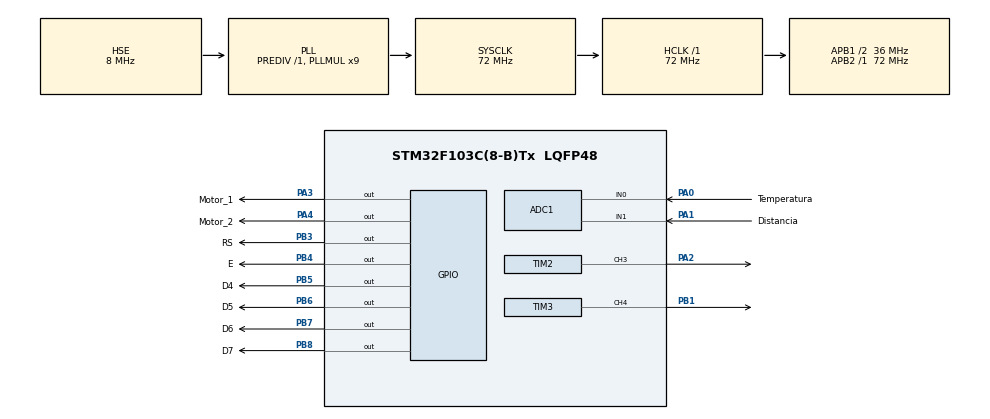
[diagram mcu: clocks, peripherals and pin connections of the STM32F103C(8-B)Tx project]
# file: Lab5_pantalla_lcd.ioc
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ADC1.Channel-0\#ChannelRegularConversion=ADC_CHANNEL_0
ADC1.ContinuousConvMode=ENABLE
ADC1.NbrOfConversionFlag=1
ADC1.Rank-0\#ChannelRegularConversion=1
ADC1.SamplingTime-0\#ChannelRegularConversion=ADC_SAMPLETIME_1CYCLE_5
ADC1.master=1
Mcu.Family=STM32F1
Mcu.Name=STM32F103C(8-B)Tx
Mcu.Package=LQFP48
NVIC.PriorityGroup=NVIC_PRIORITYGROUP_4
PA0-WKUP.GPIO_Label=Temperatura
PA0-WKUP.Signal=ADCx_IN0
PA1.GPIO_Label=Distancia
PA1.Signal=ADCx_IN1
PA2.Signal=S_TIM2_CH3
PA3.GPIO_Label=Motor_1
PA3.Signal=GPIO_Output
PA4.GPIO_Label=Motor_2
PA4.Signal=GPIO_Output
PB1.Signal=S_TIM3_CH4
PB3.GPIO_Label=RS
PB3.Signal=GPIO_Output
PB4.GPIO_Label=E
PB4.Signal=GPIO_Output
PB5.GPIO_Label=D4
PB5.Signal=GPIO_Output
PB6.GPIO_Label=D5
PB6.Signal=GPIO_Output
PB7.GPIO_Label=D6
PB7.Signal=GPIO_Output
PB8.GPIO_Label=D7
PB8.Signal=GPIO_Output
PD0-OSC_IN.Mode=HSE-External-Oscillator
PD0-OSC_IN.Signal=RCC_OSC_IN
PD1-OSC_OUT.Mode=HSE-External-Oscillator
PD1-OSC_OUT.Signal=RCC_OSC_OUT
ProjectManager.HeapSize=0x200
ProjectManager.StackSize=0x400
ProjectManager.TargetToolchain=STM32CubeIDE
RCC.ADCPresc=RCC_ADCPCLK2_DIV6
RCC.AHBFreq_Value=72000000
RCC.APB1CLKDivider=RCC_HCLK_DIV2
RCC.APB1Freq_Value=36000000
RCC.APB1TimFreq_Value=72000000
RCC.APB2Freq_Value=72000000
RCC.APB2TimFreq_Value=72000000
RCC.HCLKFreq_Value=72000000
RCC.PLLMUL=RCC_PLL_MUL9
RCC.PLLSourceVirtual=RCC_PLLSOURCE_HSE
RCC.SYSCLKFreq_VALUE=72000000
RCC.SYSCLKSource=RCC_SYSCLKSOURCE_PLLCLK
RCC.USBFreq_Value=72000000
SH.ADCx_IN0.0=ADC1_IN0,IN0
SH.ADCx_IN1.0=ADC1_IN1,IN1
SH.S_TIM2_CH3.0=TIM2_CH3,PWM Generation3 CH3
SH.S_TIM3_CH4.0=TIM3_CH4,PWM Generation4 CH4
TIM2.Channel-PWM\ Generation3\ CH3=TIM_CHANNEL_3
TIM2.Period=99
TIM2.Prescaler=71
TIM3.Channel-PWM\ Generation4\ CH4=TIM_CHANNEL_4
TIM3.Period=99
TIM3.Prescaler=71
VP_SYS_VS_ND.Mode=No_Debug
board=custom

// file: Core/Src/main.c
/* USER CODE BEGIN Header */
/**
  ******************************************************************************
  * @file           : main.c
  * @brief          : Main program body
  ******************************************************************************
  * @attention
  *
  * Copyright (c) 2026 STMicroelectronics.
  * All rights reserved.
  *
  * This software is licensed under terms that can be found in the LICENSE file
  * in the root directory of this software component.
  * If no LICENSE file comes with this software, it is provided AS-IS.
  *
  ******************************************************************************
  */
/* USER CODE END Header */
#include "main.h"
#include "adc.h"
#include "tim.h"
#include "gpio.h"

/* USER CODE BEGIN Includes */
#include "lcd.h"
#include <stdio.h>
#include <math.h>
/* USER CODE END Includes */

/* USER CODE BEGIN PD */
#define Mo1_puenH_avan 1
#define Mo2_puenH_avan 1
#define MOVE_TIMEOUT_MS 8000U
#define Distancia 10.0f

#define M1_TRIM 1.0f
#define M2_TRIM 1.0f

#define Volt_ref 1200.0f
#define Histeresis 5.0f
#define ADC_muestras 8U

#define ADC_max_filtro 32U
#define Muestras_dist 15U
#define Espera_dist_ms 2U        /* el Sharp actualiza cada ~38 ms           */
#define Filtro_dist 0.5f         /* 0.1 = muy suave/lento, 1.0 = sin filtro  */

#define Duty_arranque 100.0f     /* % durante el impulso inicial             */
#define Tiempo_arranque_ms 150U
/* USER CODE END PD */

/* USER CODE BEGIN PV */
char buf_lcd[24];
uint8_t duty = 80;
uint8_t ciclo_trab = 0;
uint16_t datos_temp = 0;
uint8_t datos_distan = 0;
uint16_t datos_alimentacion = 3300;
uint8_t motores_on = 1;
float dist_filtrada = 80.0f;
/* USER CODE END PV */

void SystemClock_Config(void);

/* USER CODE BEGIN 0 */
static uint16_t Lectura_ADC(uint32_t canal_leer)
{
	ADC_ChannelConfTypeDef config = {0};
	uint32_t suma = 0;

	config.Channel = canal_leer;
	config.Rank = ADC_REGULAR_RANK_1;
	config.SamplingTime = ADC_SAMPLETIME_239CYCLES_5;
	HAL_ADC_ConfigChannel(&hadc1, &config);

	for (uint32_t i = 0; i < ADC_muestras; i++)
	  {
	    HAL_ADC_Start(&hadc1);
	    HAL_ADC_PollForConversion(&hadc1, 10);
	    suma += HAL_ADC_GetValue(&hadc1);
	    HAL_ADC_Stop(&hadc1);
	  }
	  return (uint16_t)(suma / ADC_muestras);
}

static uint16_t Lectura_ADC_filtrada(uint32_t canal_leer, uint8_t muestras, uint32_t espera_ms)
{
	uint16_t m[ADC_max_filtro];
	uint8_t n = muestras;
	uint32_t suma = 0;

	if (n > ADC_max_filtro) n = ADC_max_filtro;
	if (n < 4) n = 4;

	for (uint8_t i = 0; i < n; i++)
	{
		m[i] = Lectura_ADC(canal_leer);
		HAL_Delay(espera_ms);
	}

	/* ordenar de menor a mayor (insercion) */
	for (uint8_t i = 1; i < n; i++)
	{
		uint16_t clave = m[i];
		int j = (int)i - 1;
		while (j >= 0 && m[j] > clave)
		{
			m[j + 1] = m[j];
			j--;
		}
		m[j + 1] = clave;
	}

	/* promedio de la mitad central */
	uint8_t ini = n / 4U;
	uint8_t fin = n - ini;
	for (uint8_t i = ini; i < fin; i++)
	{
		suma += m[i];
	}
	return (uint16_t)(suma / (uint32_t)(fin - ini));
}

static void Motores_avanzar(void)
{
  HAL_GPIO_WritePin(Motor_1_GPIO_Port, Motor_1_Pin, Mo1_puenH_avan);
  HAL_GPIO_WritePin(Motor_2_GPIO_Port, Motor_2_Pin, Mo2_puenH_avan);
    HAL_Delay(Tiempo_arranque_ms);
  __HAL_TIM_SetCompare(&htim2, TIM_CHANNEL_3, duty*M1_TRIM);
  __HAL_TIM_SetCompare(&htim3, TIM_CHANNEL_4, duty*M2_TRIM);
}

static void Motores_Detener(void)
{
  __HAL_TIM_SetCompare(&htim2, TIM_CHANNEL_3, 0);
  __HAL_TIM_SetCompare(&htim3, TIM_CHANNEL_4, 0);
}

/* USER CODE END 0 */

int main(void)
{

  /* USER CODE BEGIN 1 */
	CoreDebug->DEMCR |= CoreDebug_DEMCR_TRCENA_Msk;
	DWT->CYCCNT = 0;
	DWT->CTRL |= DWT_CTRL_CYCCNTENA_Msk;
  /* USER CODE END 1 */

  /* MCU Configuration--------------------------------------------------------*/

  /* Reset of all peripherals, Initializes the Flash interface and the Systick. */
  HAL_Init();

  /* Configure the system clock */
  SystemClock_Config();

  /* Initialize all configured peripherals */
  MX_GPIO_Init();
  MX_ADC1_Init();
  MX_TIM2_Init();
  MX_TIM3_Init();
  /* USER CODE BEGIN 2 */
  HAL_ADCEx_Calibration_Start(&hadc1);
  HAL_TIM_PWM_Start(&htim2, TIM_CHANNEL_3);
  HAL_TIM_PWM_Start(&htim3, TIM_CHANNEL_4);
  Motores_avanzar();
  Lcd_Init();

 /* Lcd_Set_Cursor(1,1);
  sprintf(buf_lcd, "PWM: %u ",duty);
  Lcd_Send_String(buf_lcd);
  HAL_Delay(50)*/

  /* USER CODE END 2 */

  /* Infinite loop */
  while (1)
  {

    /* USER CODE BEGIN 3 */
	  /*Alimentación*/
	  uint16_t alimen_ref = Lectura_ADC(ADC_CHANNEL_VREFINT);
	  if (alimen_ref >0)
	  {
		  datos_alimentacion = (uint16_t)(Volt_ref*4095.0f/(float)alimen_ref);
	  }
	  /*Temperatura*/
	  uint16_t temp_ref = Lectura_ADC(ADC_CHANNEL_0);
	  float mv_temp = ((float)temp_ref * (float)datos_alimentacion) / 4095.0f;
	  datos_temp = (uint16_t)mv_temp;       /* mV = decimas de grado C */

	  /*Distancia*/
	  uint16_t distan_ref = Lectura_ADC_filtrada(ADC_CHANNEL_1,Muestras_dist,Espera_dist_ms);
	 	  float volt_dist = ((float)distan_ref * (float)datos_alimentacion) / 4095.0f / 1000.0f;
	 	  float dist_cm = 80.0f;
	 	  if (volt_dist > 0.4f)
	 	  {
	 		  dist_cm = 27.16f * powf(volt_dist, -1.15f);
	 	  }
	 	  if (dist_cm > 80.0f)
	 		  {
	 		  dist_cm = 80.0f;
	 		  }
	 	  if (dist_cm < 10.0f)
	 	  {
	 		  dist_cm = 10.0f;
	 	  }

	 	 dist_filtrada = (Filtro_dist * dist_cm) + ((1.0f - Filtro_dist) * dist_filtrada);
	 		  datos_distan = (uint8_t)dist_filtrada;

	 	 	  if (motores_on && (dist_filtrada <= Distancia))
	 	 	  {
	 	 		  Motores_Detener();
	 	 		  motores_on = 0;
	 	 	  }
	 	 	  else if (!motores_on && (dist_filtrada >= (Distancia + Histeresis)))
	 	 	  {
	 	 		  Motores_avanzar();
	 	 		  motores_on = 1;
	 	 	  }
		  Lcd_Set_Cursor(1,1);
		  sprintf(buf_lcd, "Temp %u.%u ", datos_temp/ 10U,datos_temp % 10U);
		  Lcd_Send_String(buf_lcd);
		  Lcd_Set_Cursor(2,1);
		  sprintf(buf_lcd, "V:%u.%uV D:%ucm  ", datos_alimentacion / 1000U, (datos_alimentacion % 1000U) / 10U, datos_distan);
		  Lcd_Send_String(buf_lcd);

		  HAL_Delay(50);
  }
  /* USER CODE END 3 */
}

void SystemClock_Config(void)
{
  RCC_OscInitTypeDef RCC_OscInitStruct = {0};
  RCC_ClkInitTypeDef RCC_ClkInitStruct = {0};
  RCC_PeriphCLKInitTypeDef PeriphClkInit = {0};

  /** Initializes the RCC Oscillators according to the specified parameters
  * in the RCC_OscInitTypeDef structure.
  */
  RCC_OscInitStruct.OscillatorType = RCC_OSCILLATORTYPE_HSE;
  RCC_OscInitStruct.HSEState = RCC_HSE_ON;
  RCC_OscInitStruct.HSEPredivValue = RCC_HSE_PREDIV_DIV1;
  RCC_OscInitStruct.HSIState = RCC_HSI_ON;
  RCC_OscInitStruct.PLL.PLLState = RCC_PLL_ON;
  RCC_OscInitStruct.PLL.PLLSource = RCC_PLLSOURCE_HSE;
  RCC_OscInitStruct.PLL.PLLMUL = RCC_PLL_MUL9;
  if (HAL_RCC_OscConfig(&RCC_OscInitStruct) != HAL_OK)
  {
    Error_Handler();
  }

  /** Initializes the CPU, AHB and APB buses clocks
  */
  RCC_ClkInitStruct.ClockType = RCC_CLOCKTYPE_HCLK|RCC_CLOCKTYPE_SYSCLK
                              |RCC_CLOCKTYPE_PCLK1|RCC_CLOCKTYPE_PCLK2;
  RCC_ClkInitStruct.SYSCLKSource = RCC_SYSCLKSOURCE_PLLCLK;
  RCC_ClkInitStruct.AHBCLKDivider = RCC_SYSCLK_DIV1;
  RCC_ClkInitStruct.APB1CLKDivider = RCC_HCLK_DIV2;
  RCC_ClkInitStruct.APB2CLKDivider = RCC_HCLK_DIV1;

  if (HAL_RCC_ClockConfig(&RCC_ClkInitStruct, FLASH_LATENCY_2) != HAL_OK)
  {
    Error_Handler();
  }
  PeriphClkInit.PeriphClockSelection = RCC_PERIPHCLK_ADC;
  PeriphClkInit.AdcClockSelection = RCC_ADCPCLK2_DIV6;
  if (HAL_RCCEx_PeriphCLKConfig(&PeriphClkInit) != HAL_OK)
  {
    Error_Handler();
  }
}

void Error_Handler(void)
{
  __disable_irq();
  while (1)
  {
  }
}
